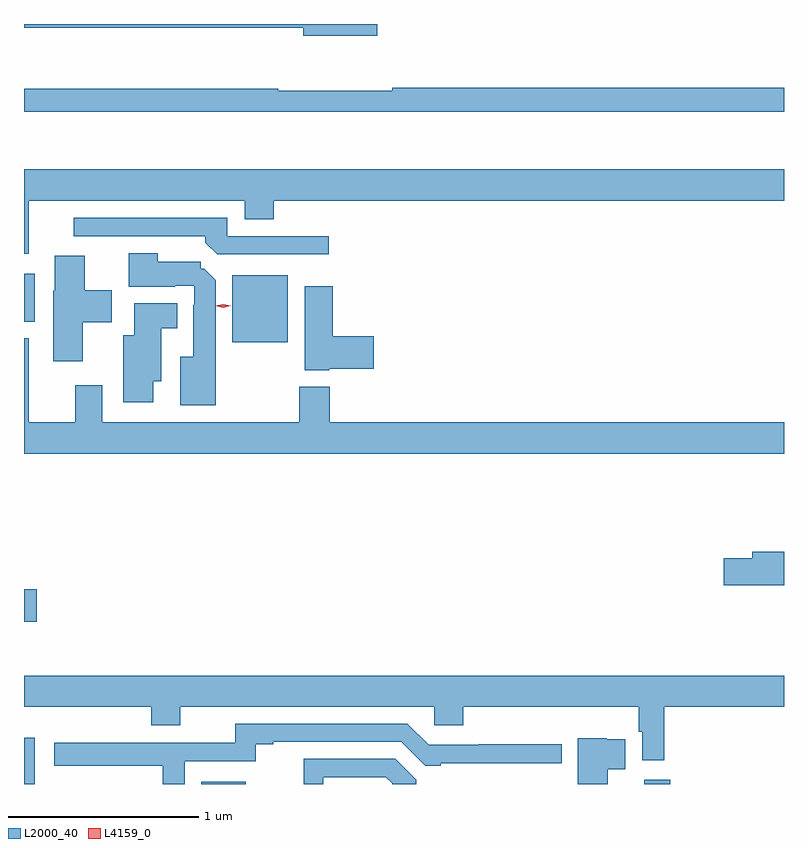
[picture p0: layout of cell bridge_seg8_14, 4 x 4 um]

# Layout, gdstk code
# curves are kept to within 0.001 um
import gdstk
lib = gdstk.Library(unit=1e-6, precision=1e-09)
def R(c, l, rs):  # rectangles x0, y0, x1, y1
    for r in rs: c.add(gdstk.rectangle(r[:2], r[2:], *l))
def P(c, l, *ps):  # polygons
    for p in ps: c.add(gdstk.Polygon(p, *l))
L2000_40 = (2000, 40)
L4159_0 = (4159, 0)

bridge_seg8_14 = lib.new_cell('bridge_seg8_14')
R(bridge_seg8_14, L2000_40, [(971.731,1136.073,971.788,1136.317), (972.665,1136.073,972.898,1136.086), (974.996,1136.073,975.131,1136.095), (971.731,1136.927,971.797,1137.098), (972.827,1138.397,973.12,1138.75), (971.731,1138.505,971.788,1138.759)])
P(bridge_seg8_14, L2000_40, [(973.591,1140.073),(971.731,1140.073),(971.731,1140.054),(973.202,1140.054),(973.202,1140.011),(973.591,1140.011)],
  [(975.731,1139.738),(973.669,1139.738),(973.669,1139.723),(973.069,1139.723),(973.069,1139.731),(971.731,1139.731),(971.731,1139.61),(975.731,1139.61)],
  [(971.755,1139.144),(972.893,1139.144),(972.893,1139.045),(973.046,1139.045),(973.046,1139.144),(975.731,1139.144),(975.731,1139.308),(971.731,1139.308),(971.731,1138.863),(971.755,1138.863)],
  [(973.336,1138.956),(972.801,1138.956),(972.801,1139.052),(971.994,1139.052),(971.994,1138.956),(972.686,1138.956),(972.686,1138.922),(972.747,1138.86),(973.336,1138.86)],
  [(972.739,1138.725),(972.679,1138.785),(972.66,1138.785),(972.66,1138.821),(972.436,1138.821),(972.436,1138.867),(972.281,1138.867),(972.281,1138.691),(972.527,1138.691),(972.527,1138.695),(972.627,1138.695),(972.627,1138.595),(972.623,1138.595),(972.623,1138.321),(972.554,1138.321),(972.554,1138.067),(972.739,1138.067)],
  [(972.04,1138.503),(972.193,1138.503),(972.193,1138.672),(972.052,1138.672),(972.052,1138.852),(971.894,1138.852),(971.894,1138.668),(971.885,1138.668),(971.885,1138.299),(972.04,1138.299)],
  [(973.338,1138.259),(973.573,1138.259),(973.573,1138.43),(973.355,1138.43),(973.355,1138.693),(973.208,1138.693),(973.208,1138.25),(973.338,1138.25)],
  [(972.412,1138.193),(972.454,1138.193),(972.454,1138.472),(972.538,1138.472),(972.538,1138.603),(972.311,1138.603),(972.311,1138.435),(972.254,1138.435),(972.254,1138.083),(972.412,1138.083)],
  [(975.731,1137.976),(973.34,1137.976),(973.34,1138.165),(973.18,1138.165),(973.18,1137.976),(972.142,1137.976),(972.142,1138.171),(972.002,1138.171),(972.002,1137.976),(971.755,1137.976),(971.755,1138.42),(971.731,1138.42),(971.731,1137.812),(975.731,1137.812)],
  [(975.731,1137.296),(975.563,1137.296),(975.563,1137.26),(975.414,1137.26),(975.414,1137.118),(975.731,1137.118)],
  [(975.101,1136.48),(975.731,1136.48),(975.731,1136.644),(971.731,1136.644),(971.731,1136.48),(972.401,1136.48),(972.401,1136.381),(972.553,1136.381),(972.553,1136.48),(973.89,1136.48),(973.89,1136.382),(974.042,1136.382),(974.042,1136.48),(974.966,1136.48),(974.966,1136.348),(974.985,1136.348),(974.985,1136.199),(975.101,1136.199)],
  [(972.576,1136.193),(972.95,1136.193),(972.95,1136.283),(973.042,1136.283),(973.042,1136.295),(973.716,1136.295),(973.843,1136.168),(973.924,1136.168),(973.924,1136.183),(974.56,1136.183),(974.56,1136.282),(974.125,1136.282),(974.125,1136.28),(973.86,1136.28),(973.749,1136.391),(972.844,1136.391),(972.844,1136.291),(971.889,1136.29),(971.889,1136.168),(972.46,1136.168),(972.46,1136.073),(972.576,1136.073)],
  [(974.803,1136.15),(974.896,1136.15),(974.896,1136.308),(974.799,1136.308),(974.799,1136.314),(974.645,1136.314),(974.645,1136.073),(974.803,1136.073)],
  [(973.306,1136.109),(973.635,1136.109),(973.668,1136.076),(973.668,1136.073),(973.795,1136.073),(973.795,1136.096),(973.686,1136.205),(973.204,1136.205),(973.204,1136.073),(973.306,1136.073)])
P(bridge_seg8_14, L4159_0, [(972.779,1138.579),(972.738,1138.589),(972.738,1138.589),(972.738,1138.589),(972.779,1138.599),(972.82,1138.59),(972.82,1138.589),(972.82,1138.589)])

lib.write_gds('bridge_seg8_14.gds')
